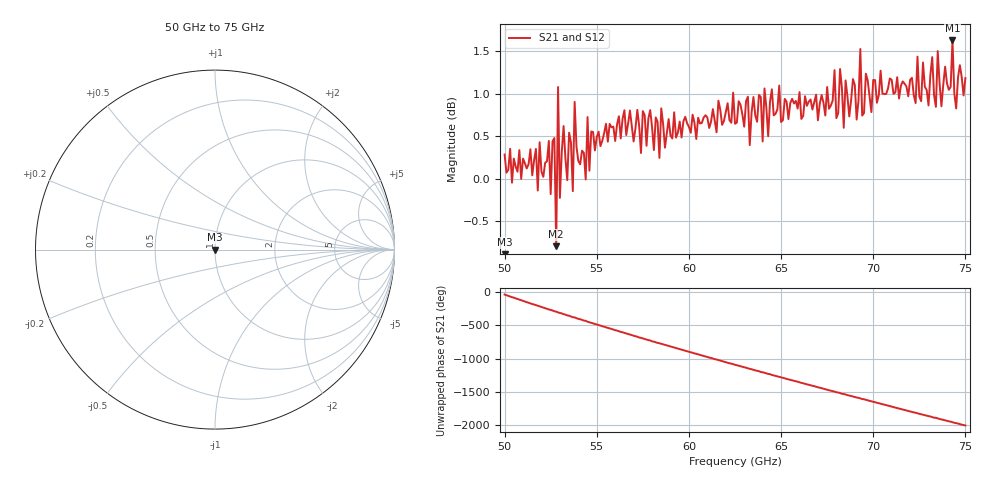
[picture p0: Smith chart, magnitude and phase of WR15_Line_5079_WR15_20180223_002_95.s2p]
# GHZ S RI R 50
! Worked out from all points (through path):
!   251 points, 50 GHz to 75 GHz, reference 50 ohm
!   highest |S21| = 1.63 dB at 74.3 GHz (marker M1); lowest = -0.8 dB at 52.8 GHz (marker M2)
!   lowest |S11| = - dB at 50 GHz (marker M3), VSWR 1.00, Z = 50 - j2.32e-16 ohm
!   |S11| at or under -10 dB: start of sweep to end of sweep
!   |S22| runs from - to - dB; largest |S21 - S12| = 1e-14
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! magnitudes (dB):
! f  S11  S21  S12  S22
! 50 GHz  -  0.3  0.3  -
! 52.4 GHz  -  0.4  0.4  -
! 52.5 GHz  -  -0.2  -0.2  -
! 52.7 GHz  -  0.5  0.5  -
! 52.8 GHz  -  -0.8  -0.8  -
! 52.9 GHz  -  1.1  1.1  -
! 53 GHz  -  -0.2  -0.2  -
! 53.2 GHz  -  0.6  0.6  -
! 53.7 GHz  -  -0.1  -0.1  -
! 53.8 GHz  -  0.9  0.9  -
! 54.2 GHz  -  0.3  0.3  -
! 58.4 GHz  -  0.2  0.2  -
! 58.5 GHz  -  0.8  0.8  -
! 62.5 GHz  -  0.6  0.6  -
! 66.7 GHz  -  0.8  0.8  -
! 70.9 GHz  -  1.2  1.2  -
! 73.4 GHz  -  0.8  0.8  -
! 73.5 GHz  -  1.5  1.5  -
! 73.7 GHz  -  0.9  0.9  -
! 74.3 GHz  -  1.6  1.6  -
! 74.5 GHz  -  0.8  0.8  -
! 75 GHz  -  1.2  1.2  -
